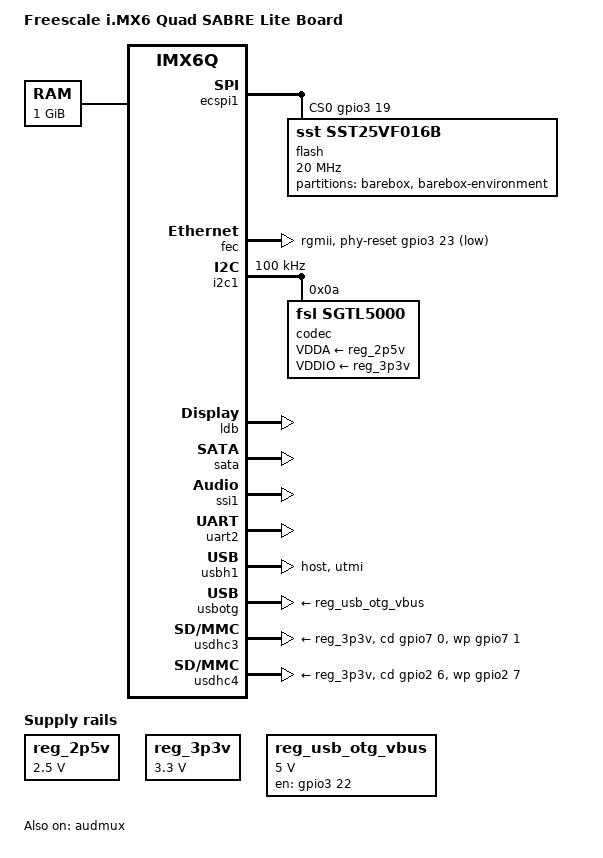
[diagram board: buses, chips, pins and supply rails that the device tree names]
/*
 * Copyright 2011 Freescale Semiconductor, Inc.
 * Copyright 2011 Linaro Ltd.
 *
 * The code contained herein is licensed under the GNU General Public
 * License. You may obtain a copy of the GNU General Public License
 * Version 2 or later at the following locations:
 *
 * http://www.opensource.org/licenses/gpl-license.html
 * http://www.gnu.org/copyleft/gpl.html
 */

/dts-v1/;
#include "imx6q.dtsi"

/ {
	model = "Freescale i.MX6 Quad SABRE Lite Board";
	compatible = "fsl,imx6q-sabrelite", "fsl,imx6q";

	chosen {
		linux,stdout-path = &uart2;

		environment@0 {
			compatible = "barebox,environment";
			device-path = &flash, "partname:barebox-environment";
		};
	};

	memory {
		reg = <0x10000000 0x40000000>;
	};

	regulators {
		compatible = "simple-bus";
		#address-cells = <1>;
		#size-cells = <0>;

		reg_2p5v: regulator@0 {
			compatible = "regulator-fixed";
			reg = <0>;
			regulator-name = "2P5V";
			regulator-min-microvolt = <2500000>;
			regulator-max-microvolt = <2500000>;
			regulator-always-on;
		};

		reg_3p3v: regulator@1 {
			compatible = "regulator-fixed";
			reg = <1>;
			regulator-name = "3P3V";
			regulator-min-microvolt = <3300000>;
			regulator-max-microvolt = <3300000>;
			regulator-always-on;
		};

		reg_usb_otg_vbus: regulator@2 {
			compatible = "regulator-fixed";
			reg = <2>;
			regulator-name = "usb_otg_vbus";
			regulator-min-microvolt = <5000000>;
			regulator-max-microvolt = <5000000>;
			gpio = <&gpio3 22 0>;
			enable-active-high;
		};
	};

	sound {
		compatible = "fsl,imx6q-sabrelite-sgtl5000",
			     "fsl,imx-audio-sgtl5000";
		model = "imx6q-sabrelite-sgtl5000";
		ssi-controller = <&ssi1>;
		audio-codec = <&codec>;
		audio-routing =
			"MIC_IN", "Mic Jack",
			"Mic Jack", "Mic Bias",
			"Headphone Jack", "HP_OUT";
		mux-int-port = <1>;
		mux-ext-port = <4>;
	};
};

&audmux {
	pinctrl-names = "default";
	pinctrl-0 = <&pinctrl_audmux>;
	status = "okay";
};

&ecspi1 {
	fsl,spi-num-chipselects = <1>;
	cs-gpios = <&gpio3 19 0>;
	pinctrl-names = "default";
	pinctrl-0 = <&pinctrl_ecspi1>;
	status = "okay";

	flash: m25p80@0 {
		compatible = "sst,sst25vf016b", "m25p80";
		spi-max-frequency = <20000000>;
		reg = <0>;
		
		#address-cells = <1>;
		#size-cells = <1>;

		partition@0 {
			label = "barebox";
			reg = <0x0 0x80000>;
		};

		partition@1 {
			label = "barebox-environment";
			reg = <0x80000 0x80000>;
		};
	};
};

&fec {
	pinctrl-names = "default";
	pinctrl-0 = <&pinctrl_enet>;
	phy-mode = "rgmii";
	phy-reset-gpios = <&gpio3 23 0>;
	status = "okay";
};

&i2c1 {
	clock-frequency = <100000>;
	pinctrl-names = "default";
	pinctrl-0 = <&pinctrl_i2c1>;
	status = "okay";

	codec: sgtl5000@0a {
		compatible = "fsl,sgtl5000";
		reg = <0x0a>;
		clocks = <&clks 201>;
		VDDA-supply = <&reg_2p5v>;
		VDDIO-supply = <&reg_3p3v>;
	};
};

&iomuxc {
	pinctrl-names = "default";
	pinctrl-0 = <&pinctrl_hog>;

	imx6q-sabrelite {
		pinctrl_hog: hoggrp {
			fsl,pins = <
				MX6QDL_PAD_NANDF_D6__GPIO2_IO06 0x80000000
				MX6QDL_PAD_NANDF_D7__GPIO2_IO07 0x80000000
				MX6QDL_PAD_EIM_D19__GPIO3_IO19  0x80000000
				MX6QDL_PAD_EIM_D22__GPIO3_IO22  0x80000000
				MX6QDL_PAD_EIM_D23__GPIO3_IO23  0x80000000
				MX6QDL_PAD_SD3_DAT5__GPIO7_IO00 0x80000000
				MX6QDL_PAD_SD3_DAT4__GPIO7_IO01 0x1f0b0
				MX6QDL_PAD_GPIO_0__CCM_CLKO1    0x80000000
			>;
		};

		pinctrl_audmux: audmuxgrp {
			fsl,pins = <MX6QDL_AUDMUX_PINGRP1>;
		};

		pinctrl_ecspi1: ecspi1grp {
			fsl,pins = <MX6QDL_ECSPI1_PINGRP1>;
		};

		pinctrl_enet: enetgrp {
			fsl,pins = <MX6QDL_ENET_PINGRP1>;
		};

		pinctrl_i2c1: i2c1grp {
			fsl,pins = <MX6QDL_I2C1_PINGRP1>;
		};

		pinctrl_uart2: uart2grp {
			fsl,pins = <MX6QDL_UART2_PINGRP1>;
		};

		pinctrl_usbotg: usbotggrp {
			fsl,pins = <MX6QDL_USBOTG_PINGRP1>;
		};

		pinctrl_usdhc3: usdhc3grp {
			fsl,pins = <MX6QDL_USDHC3_PINGRP_D4>;
		};

		pinctrl_usdhc4: usdhc4grp {
			fsl,pins = <MX6QDL_USDHC4_PINGRP_D4>;
		};
	};
};

&ldb {
	status = "okay";

	lvds-channel@0 {
		fsl,data-mapping = "spwg";
		fsl,data-width = <18>;
		status = "okay";

		display-timings {
			native-mode = <&timing0>;
			timing0: hsd100pxn1 {
				clock-frequency = <65000000>;
				hactive = <1024>;
				vactive = <768>;
				hback-porch = <220>;
				hfront-porch = <40>;
				vback-porch = <21>;
				vfront-porch = <7>;
				hsync-len = <60>;
				vsync-len = <10>;
			};
		};
	};
};

&ocotp {
	barebox,provide-mac-address = <&fec 0x620>;
};

&sata {
	status = "okay";
};

&ssi1 {
	fsl,mode = "i2s-slave";
	status = "okay";
};

&uart2 {
	pinctrl-names = "default";
	pinctrl-0 = <&pinctrl_uart2>;
	status = "okay";
};

&usbh1 {
	phy-mode = "utmi";
	dr_mode = "host";
	status = "okay";
};

&usbotg {
	vbus-supply = <&reg_usb_otg_vbus>;
	pinctrl-names = "default";
	pinctrl-0 = <&pinctrl_usbotg>;
	disable-over-current;
	status = "okay";
};

&usdhc3 {
	pinctrl-names = "default";
	pinctrl-0 = <&pinctrl_usdhc3>;
	cd-gpios = <&gpio7 0 0>;
	wp-gpios = <&gpio7 1 0>;
	vmmc-supply = <&reg_3p3v>;
	status = "okay";
};

&usdhc4 {
	pinctrl-names = "default";
	pinctrl-0 = <&pinctrl_usdhc4>;
	cd-gpios = <&gpio2 6 0>;
	wp-gpios = <&gpio2 7 0>;
	vmmc-supply = <&reg_3p3v>;
	status = "okay";
};
